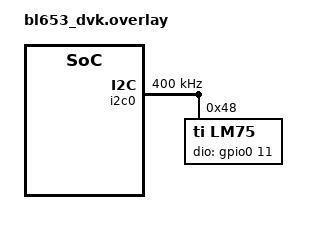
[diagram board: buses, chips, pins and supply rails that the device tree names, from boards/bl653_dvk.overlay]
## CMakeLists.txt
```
# SPDX-License-Identifier: Apache-2.0

cmake_minimum_required(VERSION 3.20.0)

find_package(Zephyr REQUIRED HINTS $ENV{ZEPHYR_BASE})
project(hello_world)

target_sources(app PRIVATE src/main.c)
target_include_directories(app PRIVATE include)
```

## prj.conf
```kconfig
# nothing here
#C++ support configs
CONFIG_CPLUSPLUS=y
CONFIG_NEWLIB_LIBC=y
CONFIG_LIB_CPLUSPLUS=y
CONFIG_HEAP_MEM_POOL_SIZE=16348

CONFIG_STDOUT_CONSOLE=y
CONFIG_LOG=y

#GPIO
CONFIG_GPIO=y
CONFIG_OPENOCD_SUPPORT=n

#SPI
CONFIG_SPI=y
# CONFIG_SPI_ASYNC=y
# CONFIG_SPI_SYNC=y
```

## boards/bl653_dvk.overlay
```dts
/*
 * Copyright (c) 2022 Nordic Semiconductor ASA
 *
 * SPDX-License-Identifier: Apache-2.0
 */
 
&i2c0 { /* SDA P0.26, SCL P0.27, ALERT P0.11 */
	status = "okay";
	clock-frequency = <I2C_BITRATE_FAST>;
	lm75@48 {
		compatible = "ti,lm75";
		label = "LM75";
		dio-gpios = <&gpio0 11 GPIO_ACTIVE_HIGH>;
		reg = <0x48>;
		lm75;
	};
};


	
```

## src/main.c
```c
#include <zephyr.h>
#include <device.h>
#include <devicetree.h>
#include <drivers/gpio.h>
#include <drivers/spi.h>
#include "main.h"

#define BUFF_SIZE 8
// port
const char *gpio0port = "GPIO_0";
const char *spi1port = "SPI_1";

// device structure
const struct device *m_dev_gpio0;
const struct device *m_dev_spi1;

// set the pin no for gpio
gpio_pin_t pwr3v3pin = 31;
gpio_flags_t pwrflag = GPIO_OUTPUT | GPIO_ACTIVE_HIGH;

// structure required for SPI
struct spi_config cfg_spi;		  // SPI configuration structure
struct spi_cs_control spi_cs_ctl; // This can be used to control a CS line via a GPIO line

static struct spi_buf tx_buf;
static struct spi_buf rx_buf;
static struct spi_buf_set tx_buf_set;
static struct spi_buf_set rx_buf_set;

char Tx_data[BUFF_SIZE] = {'D', 'U', 'S', 'H', 'Y', 'A', 'N', 'T'};
char Rx_data[BUFF_SIZE];

void main(void)
{
	uint8_t total_itr = 0;
	k_sleep(K_SECONDS(1));
	printk("\n SPI Demo Start....\n");
	enable_gpio();
	gpio_pin_set(m_dev_gpio0, pwr3v3pin, 1);
	k_sleep(K_MSEC(100));
	enable_spi();
	while (total_itr < 5)
	{
		uint8_t rt = 0;
		rt = spi_write_read(m_dev_spi1, &cfg_spi, Tx_data, Rx_data);
		if (rt != 0)
		{
			printk("\n SPI Write Read Operation Failed");
		}
		total_itr++;
	}
}

void enable_spi(void)
{
	cfg_spi.frequency = 250000;
	cfg_spi.operation = SPI_OP_MODE_MASTER;
	cfg_spi.operation |= SPI_WORD_SET(8);
	cfg_spi.operation |= (SPI_MODE_CPOL | SPI_MODE_CPHA);
	cfg_spi.operation |= SPI_TRANSFER_MSB;
	cfg_spi.slave = 0;
	cfg_spi.cs = &spi_cs_ctl;

	spi_cs_ctl.gpio_dev = m_dev_gpio0;
	spi_cs_ctl.gpio_pin = 23;
	spi_cs_ctl.gpio_dt_flags = GPIO_ACTIVE_LOW;
	spi_cs_ctl.delay = 0; // Delay in microseconds to wait before starting the transmission and before releasing the CS line.

	m_dev_spi1 = device_get_binding(spi1port);
	if (m_dev_spi1 == NULL)
	{
		printk("Device Binding for SPI_1 failed\n");
	}
	else
	{
		printk("Device Binding for SPI_1 success\n");
	}
}
void enable_gpio(void)
{
	int ret;
	m_dev_gpio0 = device_get_binding(gpio0port);
	if (m_dev_gpio0 == NULL)
	{
		printk("Device Binding for GPIO 0 failed\n");
	}
	else
	{
		printk("Device Binding for GPIO 0 success\n");
	}
	ret = gpio_pin_configure(m_dev_gpio0, pwr3v3pin, pwrflag);
	if (ret == 0)
	{
		printk("Configuration of GPIO pin success\n");
	}
	else
	{
		printk("Configuration of GPIO pin failed\n");
	}
}

int spi_write_read(struct device *dev, struct spi_config *config, char *Tx_SPI_data, char *Rx_SPI_data)
{
	uint8_t ret;
	tx_buf.buf = Tx_SPI_data;
	tx_buf.len = sizeof(Tx_data);
	tx_buf_set.buffers = &tx_buf;
	tx_buf_set.count = 1;
	rx_buf.buf = Rx_SPI_data;
	rx_buf.len = sizeof(Rx_data);
	rx_buf_set.buffers = &rx_buf;
	rx_buf_set.count = 1;
	ret = spi_transceive(dev, config, &tx_buf_set, &rx_buf_set);
	if (ret != 0)
	{
		printk("\n SPI Transmission Failed");
	}
	printk("\n Transmit : ");
	for (int i = 0; i < 8; i++)
	{
		printk("%c", Tx_data[i]);
	}
	printk("\n Receiver : ");
	for (int i = 0; i < 8; i++)
	{
		printk("%c", Rx_data[i]);
	}

	return ret;
}
```

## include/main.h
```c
#include <stdio.h>
#include <string.h>

/*
* @brief 
  Set all the configuration for SPI Config structure like
  frequency, Transfer Mode, Word Size and chip select
  device binding for SPI_1
*/
void enable_spi(void);

/*
* @brief
  Set the device binding for GPIO and
  configure the GPIO pin
*/
void enable_gpio(void);

/*
* @brief Read/write the specified amount of data from the SPI driver.
  @param dev Pointer to the device structure for the driver instance
  @param config Pointer to a valid spi_config structure instance.
  @param Tx_SPI_data Buffer array where data to be sent originates from.
  @param Rx_SPI_data Buffer array where data to be read will be written to.
  @return 0 If transmission successful. 
*/
int spi_write_read(struct device *dev, struct spi_config *config, char *Tx_SPI_data, char *Rx_SPI_data);
```
